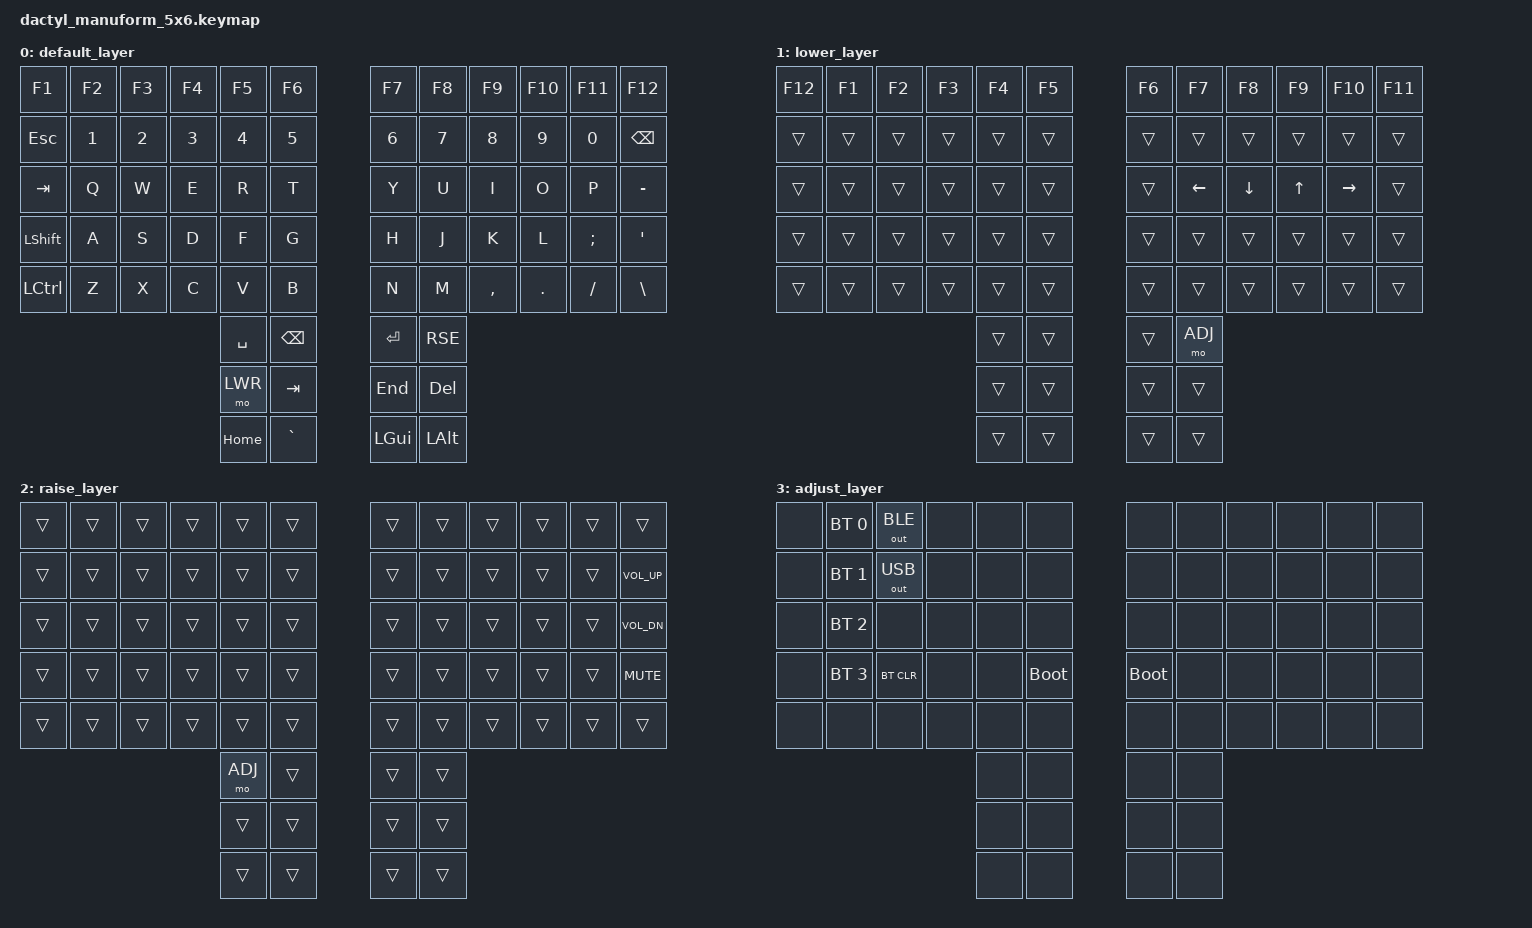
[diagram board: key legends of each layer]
#include <behaviors.dtsi>
#include <dt-bindings/zmk/keys.h>
#include <dt-bindings/zmk/bt.h>
#include <dt-bindings/zmk/outputs.h>

#define DEFAULT 0
#define LWR 1
#define RSE 2
#define ADJ 3

/ {
    keymap {
        compatible = "zmk,keymap";

        default_layer {
            bindings = <
                &kp F1    &kp F2 &kp F3 &kp F4 &kp F5 &kp F6              &kp F7 &kp F8 &kp F9    &kp F10 &kp F11  &kp F12
                &kp ESC   &kp N1 &kp N2 &kp N3 &kp N4 &kp N5              &kp N6 &kp N7 &kp N8    &kp N9  &kp N0   &kp BSPC
                &kp TAB   &kp Q  &kp W  &kp E  &kp R  &kp T               &kp Y  &kp U  &kp I     &kp O   &kp P    &kp MINUS
                &kp LSHFT &kp A  &kp S  &kp D  &kp F  &kp G               &kp H  &kp J  &kp K     &kp L   &kp SEMI &kp SQT
                &kp LCTRL &kp Z  &kp X  &kp C  &kp V  &kp B               &kp N  &kp M  &kp COMMA &kp DOT &kp FSLH &kp BSLH
                                            &kp SPACE &kp BSPC            &kp RET  &kp RSE
                                            &mo LWR   &kp TAB             &kp END  &kp DEL
                                            &kp HOME &kp GRAVE            &kp LGUI &kp LALT
            >;
        };

        lower_layer {
            bindings = <
                &kp F12 &kp F1 &kp F2 &kp F3 &kp F4 &kp F5                &kp F6 &kp F7   &kp F8   &kp F9 &kp F10   &kp F11
                &trans  &trans &trans &trans &trans &trans                &trans &trans   &trans   &trans &trans    &trans
                &trans  &trans &trans &trans &trans &trans                &trans &kp LEFT &kp DOWN &kp UP &kp RIGHT &trans
                &trans  &trans &trans &trans &trans &trans                &trans &trans   &trans   &trans &trans    &trans
                &trans  &trans &trans &trans &trans &trans                &trans &trans   &trans   &trans &trans    &trans
                                             &trans &trans                &trans &mo ADJ
                                             &trans &trans                &trans &trans
                                             &trans &trans                &trans &trans
            >;
        };

        raise_layer {
            bindings = <
                &trans  &trans &trans &trans &trans &trans                &trans &trans &trans &trans &trans &trans
                &trans  &trans &trans &trans &trans &trans                &trans &trans &trans &trans &trans &kp K_VOL_UP
                &trans  &trans &trans &trans &trans &trans                &trans &trans &trans &trans &trans &kp K_VOL_DN
                &trans  &trans &trans &trans &trans &trans                &trans &trans &trans &trans &trans &kp K_MUTE
                &trans  &trans &trans &trans &trans &trans                &trans &trans &trans &trans &trans &trans
                                             &mo ADJ &trans               &trans &trans
                                             &trans  &trans               &trans &trans
                                             &trans  &trans               &trans &trans
            >;
        };

        adjust_layer {
            bindings = <
                &none &bt BT_SEL 0 &out OUT_BLE &none &none  &none            &none       &none  &none &none &none &none
                &none &bt BT_SEL 1 &out OUT_USB &none &none &none             &none       &none &none &none &none &none
                &none &bt BT_SEL 2 &none        &none &none  &none            &none       &none  &none &none &none &none
                &none &bt BT_SEL 3 &bt BT_CLR   &none &none  &bootloader      &bootloader &none  &none &none &none &none
                &none &none        &none        &none &none &none             &none &none &none &none &none &none
                                                      &none &none             &none &none
                                                      &none &none             &none &none
                                                      &none &none             &none &none
            >;
        };
    };
};
